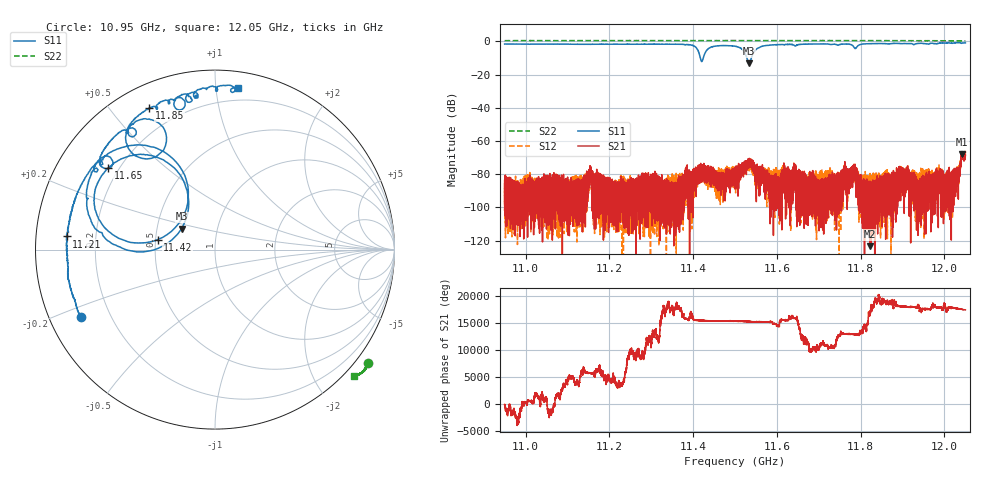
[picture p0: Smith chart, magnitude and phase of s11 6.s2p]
!Agilent Technologies,E8362C,MY49020356,A.09.42.23
!Agilent E8362C: A.09.42.23
!Date: Saturday, September 11, 2021 04:20:52
!Correction: S11(Full 2 Port(1,2))
!S21(Full 2 Port(1,2))
!S12(Full 2 Port(1,2))
!S22(Full 2 Port(1,2))
!S2P File: Measurements: S11, S21, S12, S22:
# Hz S  MA  R 50
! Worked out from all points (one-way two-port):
!   32001 points, 10.95 GHz to 12.05 GHz, reference 50 ohm
!   highest |S21| = -68.02 dB at 12.04 GHz (marker M1); lowest = -123.3 dB at 11.82 GHz (marker M2)
!   lowest |S11| = -13.2 dB at 11.53 GHz (marker M3), VSWR 1.56, Z = 33.5 + j8.25 ohm
!   |S11| at or under -10 dB: 11.41733 GHz to 11.42415 GHz (6.811 MHz wide, 0.0596 % of centre); 11.52843 GHz to 11.53902 GHz (10.59 MHz wide, 0.0918 % of centre)
!   |S22| runs from 0.4 to 0.6 dB; largest |S21 - S12| = 0.0002
!   S11 on the Smith chart (normalised r, x): 10.95 GHz: 0.09, -0.24; 11.21 GHz: 0.09, +0.04; 11.42 GHz: 0.51, +0.06; 11.65 GHz: 0.16, +0.33; 11.85 GHz: 0.10, +0.63; 12.05 GHz: 0.11, +1.15
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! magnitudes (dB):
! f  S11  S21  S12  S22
! 10.95 GHz  -1.5  -85.7  -95.9  0.5
! 11.13 GHz  -1.7  -87.1  -83.3  0.5
! 11.21 GHz  -1.6  -100.0  -103.9  0.5
! 11.32 GHz  -1.6  -91.6  -96.3  0.6
! 11.4 GHz  -2.2  -84.3  -83.1  0.6
! 11.42 GHz  -9.8  -79.6  -83.2  0.6
! 11.44 GHz  -3.3  -79.9  -77.1  0.6
! 11.5 GHz  -2.9  -79.4  -80.3  0.6
! 11.52 GHz  -4.9  -75.6  -75.9  0.6
! 11.53 GHz  -13.2  -71.9  -74.9  0.6
! 11.55 GHz  -5.2  -80.2  -80.4  0.6
! 11.56 GHz  -2.9  -81.2  -82.3  0.6
! 11.65 GHz  -2.5  -83.1  -80.4  0.6
! 11.68 GHz  -1.5  -90.6  -87.8  0.6
! 11.79 GHz  -4.2  -81.0  -81.9  0.5
! 11.82 GHz  -1.3  -123.3  -90.6  0.5
! 11.85 GHz  -1.2  -87.7  -87.5  0.5
! 11.87 GHz  -1.4  -80.0  -79.2  0.5
! 12.02 GHz  -0.9  -79.6  -82.1  0.4
! 12.03 GHz  -0.8  -79.3  -78.4  0.4
! 12.04 GHz  -1.1  -68.0  -68.1  0.4
! 12.05 GHz  -0.8  -68.3  -66.1  0.4
